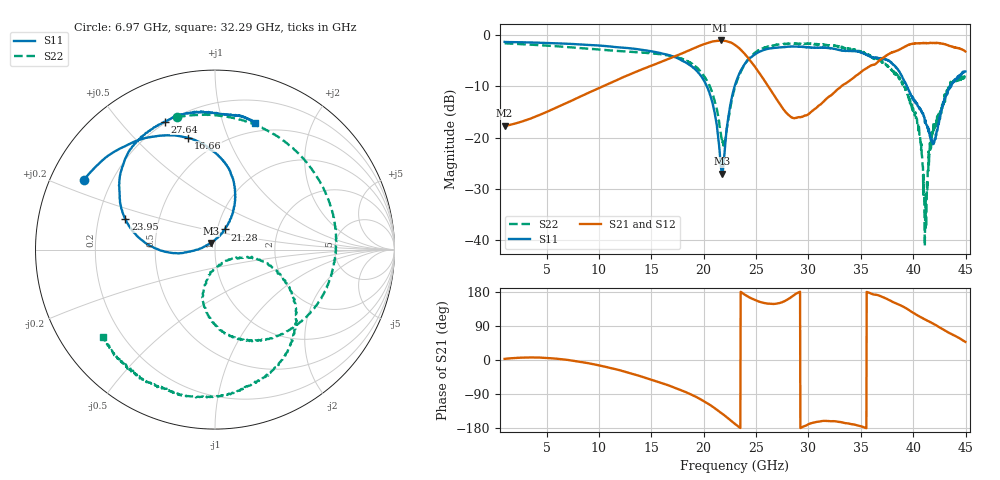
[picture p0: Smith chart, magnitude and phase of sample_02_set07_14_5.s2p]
!Keysight Technologies,N5247B,MY61255062,A.19.80.06
!Date: Friday, March 13, 2026 17:53:37
!Correction: S11(C  2-Port  )
!S21(C  2-Port  )
!S12(C  2-Port  )
!S22(C  2-Port  )
!S2P File: Measurements: S11, S21, S12, S22:
# Hz S  dB  R 50
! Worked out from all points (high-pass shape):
!   1467 points, 1 GHz to 44.98 GHz, reference 50 ohm
!   highest |S21| = -1.01 dB at 21.61 GHz (marker M1); lowest = -17.7 dB at 1 GHz (marker M2)
!   |S21| within 3 dB of the highest: 17.37 GHz to 24.08 GHz (6.709 GHz wide, 32.4 % of centre); 37.39 GHz to end of sweep
!   lowest |S11| = -27.1 dB at 21.76 GHz (marker M3), VSWR 1.09, Z = 47.5 + j3.57 ohm
!   |S11| at or under -10 dB: 20.31 GHz to 22.95 GHz (2.645 GHz wide, 12.2 % of centre); 39.41 GHz to 43.55 GHz (4.141 GHz wide, 9.98 % of centre); 43.62994 GHz to 43.63003 GHz (85.89 kHz wide, 0.000197 % of centre)
!   |S22| runs from -41.3 to -1.6 dB; largest |S21 - S12| = 0.0084
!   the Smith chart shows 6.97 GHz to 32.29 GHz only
!   S11 on the Smith chart (normalised r, x): 6.97 GHz: 0.10, +0.25; 16.66 GHz: 0.35, +0.73; 21.28 GHz: 1.09, +0.25; 23.95 GHz: 0.32, +0.15; 27.64 GHz: 0.19, +0.66; 32.29 GHz: 0.41, +1.28
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1e9  -1.30 175.8  -17.71 2.9  -17.71 2.9  -1.57 169.4
6.97e9  -1.65 151.9  -13.20 0.4  -13.20 0.4  -2.31 106.0
8.35e9  -1.81 146.1  -11.87 -5.3  -11.87 -5.3  -2.52 89.0
1.255e10  -2.47 127.4  -7.99 -31.3  -7.99 -31.3  -3.17 29.6
1.567e10  -3.39 109.9  -5.43 -57.8  -5.43 -57.8  -3.68 -19.7
1.666e10  -3.88 103.5  -4.60 -67.1  -4.60 -67.1  -3.96 -35.6
1.987e10  -8.37 73.7  -1.86 -106.4  -1.86 -106.3  -7.58 -89.7
2.128e10  -18.06 63.9  -1.08 -131.4  -1.07 -131.3  -14.64 -105.7
2.161e10  -24.76 86.6  -1.01 -138.2  -1.01 -138.2  -18.98 -94.9
2.176e10  -27.06 122.4  -1.04 -141.5  -1.03 -141.4  -20.58 -78.6
2.299e10  -9.78 179.3  -1.90 -168.7  -1.89 -168.7  -10.17 -16.2
2.395e10  -5.56 161.2  -3.71 171.9  -3.70 172.0  -5.61 -33.1
2.764e10  -2.32 111.4  -14.54 154.3  -14.55 154.4  -1.71 -92.7
3.034e10  -2.43 88.0  -14.84 -166.2  -14.85 -166.2  -1.65 -122.3
3.229e10  -2.59 72.5  -11.55 -161.5  -11.54 -161.4  -2.03 -142.0
3.511e10  -3.44 49.1  -7.05 -175.9  -7.05 -175.9  -3.41 -173.3
3.766e10  -4.92 22.1  -3.67 158.9  -3.67 159.0  -6.17 151.2
4.027e10  -13.30 -25.0  -1.58 120.0  -1.60 120.0  -15.95 111.8
4.117e10  -16.59 -27.1  -1.51 106.4  -1.48 106.6  -37.69 -5.4
4.195e10  -21.25 34.5  -1.50 95.2  -1.49 95.2  -18.55 -140.1
4.327e10  -11.31 101.2  -1.92 73.8  -1.90 74.4  -10.86 -148.7
4.498e10  -7.07 86.9  -3.16 47.9  -3.13 47.8  -7.97 157.4
